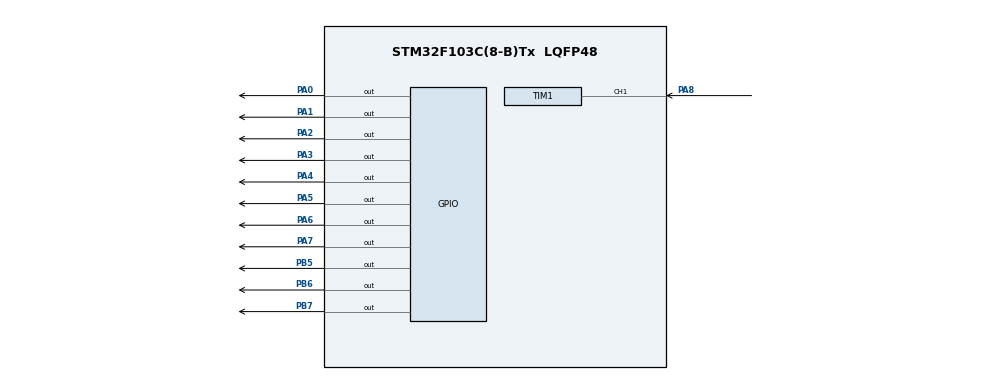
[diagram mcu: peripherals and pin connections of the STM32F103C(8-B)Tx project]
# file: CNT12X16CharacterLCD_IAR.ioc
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Mcu.Family=STM32F1
Mcu.Name=STM32F103C(8-B)Tx
Mcu.Package=LQFP48
NVIC.PriorityGroup=NVIC_PRIORITYGROUP_4
PA0-WKUP.Signal=GPIO_Output
PA1.Signal=GPIO_Output
PA13.Mode=Serial_Wire
PA13.Signal=SYS_JTMS-SWDIO
PA14.Mode=Serial_Wire
PA14.Signal=SYS_JTCK-SWCLK
PA2.Signal=GPIO_Output
PA3.Signal=GPIO_Output
PA4.Signal=GPIO_Output
PA5.Signal=GPIO_Output
PA6.Signal=GPIO_Output
PA7.Signal=GPIO_Output
PA8.GPIO_PuPd=GPIO_PULLDOWN
PA8.Signal=S_TIM1_CH1
PB5.Signal=GPIO_Output
PB6.Signal=GPIO_Output
PB7.Signal=GPIO_Output
PD0-OSC_IN.Mode=HSE-External-Oscillator
PD0-OSC_IN.Signal=RCC_OSC_IN
PD1-OSC_OUT.Mode=HSE-External-Oscillator
PD1-OSC_OUT.Signal=RCC_OSC_OUT
ProjectManager.HeapSize=0x200
ProjectManager.StackSize=0x400
ProjectManager.TargetToolchain=EWARM V8.32
RCC.APB1Freq_Value=8000000
RCC.APB2Freq_Value=8000000
RCC.SYSCLKSource=RCC_SYSCLKSOURCE_HSE
SH.S_TIM1_CH1.0=TIM1_CH1,TriggerSource_TI1FP1
TIM1.Slave_TriggerFilter=15
VP_TIM1_VS_ControllerModeClock.Mode=Clock Mode
board=custom

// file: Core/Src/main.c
/* USER CODE BEGIN Header */
/**
  ******************************************************************************
  * @file           : main.c
  * @brief          : Main program body
  ******************************************************************************
  * @attention
  *
  * Copyright (c) 2023 STMicroelectronics.
  * All rights reserved.
  *
  * This software is licensed under terms that can be found in the LICENSE file
  * in the root directory of this software component.
  * If no LICENSE file comes with this software, it is provided AS-IS.
  *
  ******************************************************************************
  */
/* USER CODE END Header */
#include "main.h"

/* USER CODE BEGIN Includes */

#include <stdio.h>
#include "LCD/lcd.h"

/* USER CODE END Includes */

TIM_HandleTypeDef htim1;

void SystemClock_Config(void);
static void MX_GPIO_Init(void);
static void MX_TIM1_Init(void);

int main(void)
{
  /* USER CODE BEGIN 1 */

  char str[17];
  int i = 0;

  /* USER CODE END 1 */

  /* MCU Configuration--------------------------------------------------------*/

  /* Reset of all peripherals, Initializes the Flash interface and the Systick. */
  HAL_Init();

  /* Configure the system clock */
  SystemClock_Config();

  /* Initialize all configured peripherals */
  MX_GPIO_Init();
  MX_TIM1_Init();
  /* USER CODE BEGIN 2 */

  lcd_init();
  lcd_clear();

  lcd_gotoxy(0,0);
  lcd_puts("  dibadigital  ");
  HAL_Delay(2000);
  lcd_clear();

  HAL_TIM_Base_Start(&htim1);
  __HAL_TIM_SET_COUNTER(&htim1, 0);

  /* USER CODE END 2 */

  /* Infinite loop */
  /* USER CODE BEGIN WHILE */
  while (1)
  {
    i = __HAL_TIM_GET_COUNTER(&htim1);

    sprintf(str,"CNT= %03d",i);
    lcd_gotoxy(0, 0);
    lcd_puts(str);

    /* USER CODE END WHILE */

  }
}

void SystemClock_Config(void)
{
  RCC_OscInitTypeDef RCC_OscInitStruct = {0};
  RCC_ClkInitTypeDef RCC_ClkInitStruct = {0};

  /** Initializes the RCC Oscillators according to the specified parameters
  * in the RCC_OscInitTypeDef structure.
  */
  RCC_OscInitStruct.OscillatorType = RCC_OSCILLATORTYPE_HSE;
  RCC_OscInitStruct.HSEState = RCC_HSE_ON;
  RCC_OscInitStruct.PLL.PLLState = RCC_PLL_NONE;
  if (HAL_RCC_OscConfig(&RCC_OscInitStruct) != HAL_OK)
  {
    Error_Handler();
  }

  /** Initializes the CPU, AHB and APB buses clocks
  */
  RCC_ClkInitStruct.ClockType = RCC_CLOCKTYPE_HCLK|RCC_CLOCKTYPE_SYSCLK
                              |RCC_CLOCKTYPE_PCLK1|RCC_CLOCKTYPE_PCLK2;
  RCC_ClkInitStruct.SYSCLKSource = RCC_SYSCLKSOURCE_HSE;
  RCC_ClkInitStruct.AHBCLKDivider = RCC_SYSCLK_DIV1;
  RCC_ClkInitStruct.APB1CLKDivider = RCC_HCLK_DIV1;
  RCC_ClkInitStruct.APB2CLKDivider = RCC_HCLK_DIV1;

  if (HAL_RCC_ClockConfig(&RCC_ClkInitStruct, FLASH_LATENCY_0) != HAL_OK)
  {
    Error_Handler();
  }
}

static void MX_TIM1_Init(void)
{

  TIM_SlaveConfigTypeDef sSlaveConfig = {0};
  TIM_MasterConfigTypeDef sMasterConfig = {0};

  htim1.Instance = TIM1;
  htim1.Init.Prescaler = 0;
  htim1.Init.CounterMode = TIM_COUNTERMODE_UP;
  htim1.Init.Period = 65535;
  htim1.Init.ClockDivision = TIM_CLOCKDIVISION_DIV1;
  htim1.Init.RepetitionCounter = 0;
  htim1.Init.AutoReloadPreload = TIM_AUTORELOAD_PRELOAD_DISABLE;
  if (HAL_TIM_Base_Init(&htim1) != HAL_OK)
  {
    Error_Handler();
  }
  sSlaveConfig.SlaveMode = TIM_SLAVEMODE_EXTERNAL1;
  sSlaveConfig.InputTrigger = TIM_TS_TI1FP1;
  sSlaveConfig.TriggerPolarity = TIM_TRIGGERPOLARITY_RISING;
  sSlaveConfig.TriggerFilter = 15;
  if (HAL_TIM_SlaveConfigSynchro(&htim1, &sSlaveConfig) != HAL_OK)
  {
    Error_Handler();
  }
  sMasterConfig.MasterOutputTrigger = TIM_TRGO_RESET;
  sMasterConfig.MasterSlaveMode = TIM_MASTERSLAVEMODE_DISABLE;
  if (HAL_TIMEx_MasterConfigSynchronization(&htim1, &sMasterConfig) != HAL_OK)
  {
    Error_Handler();
  }

}

static void MX_GPIO_Init(void)
{
  GPIO_InitTypeDef GPIO_InitStruct = {0};

  /* GPIO Ports Clock Enable */
  __HAL_RCC_GPIOD_CLK_ENABLE();
  __HAL_RCC_GPIOA_CLK_ENABLE();
  __HAL_RCC_GPIOB_CLK_ENABLE();

  /*Configure GPIO pin Output Level */
  HAL_GPIO_WritePin(GPIOA, GPIO_PIN_0|GPIO_PIN_1|GPIO_PIN_2|GPIO_PIN_3
                          |GPIO_PIN_4|GPIO_PIN_5|GPIO_PIN_6|GPIO_PIN_7, GPIO_PIN_RESET);

  /*Configure GPIO pin Output Level */
  HAL_GPIO_WritePin(GPIOB, GPIO_PIN_5|GPIO_PIN_6|GPIO_PIN_7, GPIO_PIN_RESET);

  /*Configure GPIO pins : PA0 PA1 PA2 PA3
                           PA4 PA5 PA6 PA7 */
  GPIO_InitStruct.Pin = GPIO_PIN_0|GPIO_PIN_1|GPIO_PIN_2|GPIO_PIN_3
                          |GPIO_PIN_4|GPIO_PIN_5|GPIO_PIN_6|GPIO_PIN_7;
  GPIO_InitStruct.Mode = GPIO_MODE_OUTPUT_PP;
  GPIO_InitStruct.Pull = GPIO_NOPULL;
  GPIO_InitStruct.Speed = GPIO_SPEED_FREQ_LOW;
  HAL_GPIO_Init(GPIOA, &GPIO_InitStruct);

  /*Configure GPIO pins : PB5 PB6 PB7 */
  GPIO_InitStruct.Pin = GPIO_PIN_5|GPIO_PIN_6|GPIO_PIN_7;
  GPIO_InitStruct.Mode = GPIO_MODE_OUTPUT_PP;
  GPIO_InitStruct.Pull = GPIO_NOPULL;
  GPIO_InitStruct.Speed = GPIO_SPEED_FREQ_LOW;
  HAL_GPIO_Init(GPIOB, &GPIO_InitStruct);

}

void Error_Handler(void)
{
  __disable_irq();
  while (1)
  {
  }
}
